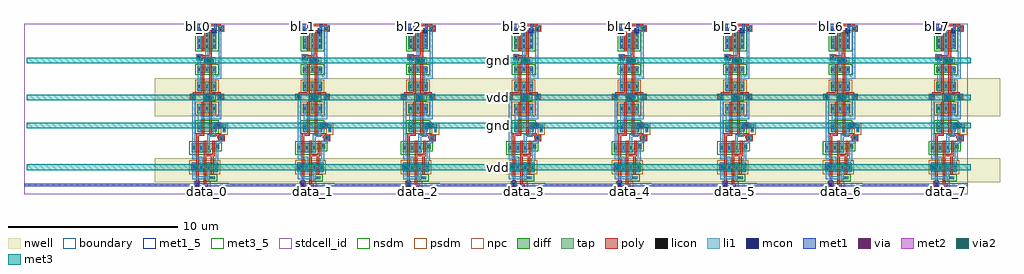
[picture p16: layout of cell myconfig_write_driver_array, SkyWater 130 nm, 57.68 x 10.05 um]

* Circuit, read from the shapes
.subckt myconfig_write_driver_array bl_0 bl_1 bl_2 bl_3 bl_4 bl_5 bl_6 bl_7 br_0 br_1 br_2 br_3 br_4 br_5 br_6 br_7 data_0 data_1 data_2 data_3 data_4 data_5 data_6 data_7 en gnd vdd
XM1 n1 en n2 gnd sky130_fd_pr__nfet_01v8 w=0.55 l=0.15
XM2 n3 en n4 gnd sky130_fd_pr__nfet_01v8 w=0.55 l=0.15
XM3 gnd n2 n5 gnd sky130_fd_pr__nfet_01v8 w=0.36 l=0.15
XM4 gnd n6 bl_0 gnd sky130_fd_pr__nfet_01v8 w=1 l=0.15
XM5 gnd data_0 n1 gnd sky130_fd_pr__nfet_01v8 w=0.55 l=0.15
XM6 gnd n7 n3 gnd sky130_fd_pr__nfet_01v8 w=0.55 l=0.15
XM7 n6 n4 gnd gnd sky130_fd_pr__nfet_01v8 w=0.36 l=0.15
XM8 br_0 n5 gnd gnd sky130_fd_pr__nfet_01v8 w=1 l=0.15
XM9 n7 data_0 gnd gnd sky130_fd_pr__nfet_01v8 w=0.36 l=0.15
XM10 n8 en n9 gnd sky130_fd_pr__nfet_01v8 w=0.55 l=0.15
XM11 n10 en n11 gnd sky130_fd_pr__nfet_01v8 w=0.55 l=0.15
XM12 gnd n9 n12 gnd sky130_fd_pr__nfet_01v8 w=0.36 l=0.15
XM13 gnd n13 bl_1 gnd sky130_fd_pr__nfet_01v8 w=1 l=0.15
XM14 gnd data_1 n8 gnd sky130_fd_pr__nfet_01v8 w=0.55 l=0.15
XM15 gnd n14 n10 gnd sky130_fd_pr__nfet_01v8 w=0.55 l=0.15
XM16 n13 n11 gnd gnd sky130_fd_pr__nfet_01v8 w=0.36 l=0.15
XM17 br_1 n12 gnd gnd sky130_fd_pr__nfet_01v8 w=1 l=0.15
XM18 n14 data_1 gnd gnd sky130_fd_pr__nfet_01v8 w=0.36 l=0.15
XM19 n15 en n16 gnd sky130_fd_pr__nfet_01v8 w=0.55 l=0.15
XM20 n17 en n18 gnd sky130_fd_pr__nfet_01v8 w=0.55 l=0.15
XM21 gnd n16 n19 gnd sky130_fd_pr__nfet_01v8 w=0.36 l=0.15
XM22 gnd n20 bl_2 gnd sky130_fd_pr__nfet_01v8 w=1 l=0.15
XM23 gnd data_2 n15 gnd sky130_fd_pr__nfet_01v8 w=0.55 l=0.15
XM24 gnd n21 n17 gnd sky130_fd_pr__nfet_01v8 w=0.55 l=0.15
XM25 n20 n18 gnd gnd sky130_fd_pr__nfet_01v8 w=0.36 l=0.15
XM26 br_2 n19 gnd gnd sky130_fd_pr__nfet_01v8 w=1 l=0.15
XM27 n21 data_2 gnd gnd sky130_fd_pr__nfet_01v8 w=0.36 l=0.15
XM28 n22 en n23 gnd sky130_fd_pr__nfet_01v8 w=0.55 l=0.15
XM29 n24 en n25 gnd sky130_fd_pr__nfet_01v8 w=0.55 l=0.15
XM30 gnd n23 n26 gnd sky130_fd_pr__nfet_01v8 w=0.36 l=0.15
XM31 gnd n27 bl_3 gnd sky130_fd_pr__nfet_01v8 w=1 l=0.15
XM32 gnd data_3 n22 gnd sky130_fd_pr__nfet_01v8 w=0.55 l=0.15
XM33 gnd n28 n24 gnd sky130_fd_pr__nfet_01v8 w=0.55 l=0.15
XM34 n27 n25 gnd gnd sky130_fd_pr__nfet_01v8 w=0.36 l=0.15
XM35 br_3 n26 gnd gnd sky130_fd_pr__nfet_01v8 w=1 l=0.15
XM36 n28 data_3 gnd gnd sky130_fd_pr__nfet_01v8 w=0.36 l=0.15
XM37 n29 en n30 gnd sky130_fd_pr__nfet_01v8 w=0.55 l=0.15
XM38 n31 en n32 gnd sky130_fd_pr__nfet_01v8 w=0.55 l=0.15
XM39 gnd n30 n33 gnd sky130_fd_pr__nfet_01v8 w=0.36 l=0.15
XM40 gnd n34 bl_4 gnd sky130_fd_pr__nfet_01v8 w=1 l=0.15
XM41 gnd data_4 n29 gnd sky130_fd_pr__nfet_01v8 w=0.55 l=0.15
XM42 gnd n35 n31 gnd sky130_fd_pr__nfet_01v8 w=0.55 l=0.15
XM43 n34 n32 gnd gnd sky130_fd_pr__nfet_01v8 w=0.36 l=0.15
XM44 br_4 n33 gnd gnd sky130_fd_pr__nfet_01v8 w=1 l=0.15
XM45 n35 data_4 gnd gnd sky130_fd_pr__nfet_01v8 w=0.36 l=0.15
XM46 n36 en n37 gnd sky130_fd_pr__nfet_01v8 w=0.55 l=0.15
XM47 n38 en n39 gnd sky130_fd_pr__nfet_01v8 w=0.55 l=0.15
XM48 gnd n37 n40 gnd sky130_fd_pr__nfet_01v8 w=0.36 l=0.15
XM49 gnd n41 bl_5 gnd sky130_fd_pr__nfet_01v8 w=1 l=0.15
XM50 gnd data_5 n36 gnd sky130_fd_pr__nfet_01v8 w=0.55 l=0.15
XM51 gnd n42 n38 gnd sky130_fd_pr__nfet_01v8 w=0.55 l=0.15
XM52 n41 n39 gnd gnd sky130_fd_pr__nfet_01v8 w=0.36 l=0.15
XM53 br_5 n40 gnd gnd sky130_fd_pr__nfet_01v8 w=1 l=0.15
XM54 n42 data_5 gnd gnd sky130_fd_pr__nfet_01v8 w=0.36 l=0.15
XM55 n43 en n44 gnd sky130_fd_pr__nfet_01v8 w=0.55 l=0.15
XM56 n45 en n46 gnd sky130_fd_pr__nfet_01v8 w=0.55 l=0.15
XM57 gnd n44 n47 gnd sky130_fd_pr__nfet_01v8 w=0.36 l=0.15
XM58 gnd n48 bl_6 gnd sky130_fd_pr__nfet_01v8 w=1 l=0.15
XM59 gnd data_6 n43 gnd sky130_fd_pr__nfet_01v8 w=0.55 l=0.15
XM60 gnd n49 n45 gnd sky130_fd_pr__nfet_01v8 w=0.55 l=0.15
XM61 n48 n46 gnd gnd sky130_fd_pr__nfet_01v8 w=0.36 l=0.15
XM62 br_6 n47 gnd gnd sky130_fd_pr__nfet_01v8 w=1 l=0.15
XM63 n49 data_6 gnd gnd sky130_fd_pr__nfet_01v8 w=0.36 l=0.15
XM64 n50 en n51 gnd sky130_fd_pr__nfet_01v8 w=0.55 l=0.15
XM65 n52 en n53 gnd sky130_fd_pr__nfet_01v8 w=0.55 l=0.15
XM66 gnd n51 n54 gnd sky130_fd_pr__nfet_01v8 w=0.36 l=0.15
XM67 gnd n55 bl_7 gnd sky130_fd_pr__nfet_01v8 w=1 l=0.15
XM68 gnd data_7 n50 gnd sky130_fd_pr__nfet_01v8 w=0.55 l=0.15
XM69 gnd n56 n52 gnd sky130_fd_pr__nfet_01v8 w=0.55 l=0.15
XM70 n55 n53 gnd gnd sky130_fd_pr__nfet_01v8 w=0.36 l=0.15
XM71 br_7 n54 gnd gnd sky130_fd_pr__nfet_01v8 w=1 l=0.15
XM72 n56 data_7 gnd gnd sky130_fd_pr__nfet_01v8 w=0.36 l=0.15
XM73 n2 en vdd vdd sky130_fd_pr__pfet_01v8 w=0.55 l=0.15
XM74 vdd en n4 vdd sky130_fd_pr__pfet_01v8 w=0.55 l=0.15
XM75 vdd n2 n5 vdd sky130_fd_pr__pfet_01v8 w=0.55 l=0.15
XM76 vdd data_0 n2 vdd sky130_fd_pr__pfet_01v8 w=0.55 l=0.15
XM77 n4 n7 vdd vdd sky130_fd_pr__pfet_01v8 w=0.55 l=0.15
XM78 n6 n4 vdd vdd sky130_fd_pr__pfet_01v8 w=0.55 l=0.15
XM79 n7 data_0 vdd vdd sky130_fd_pr__pfet_01v8 w=0.55 l=0.15
XM80 n9 en vdd vdd sky130_fd_pr__pfet_01v8 w=0.55 l=0.15
XM81 vdd en n11 vdd sky130_fd_pr__pfet_01v8 w=0.55 l=0.15
XM82 vdd n9 n12 vdd sky130_fd_pr__pfet_01v8 w=0.55 l=0.15
XM83 vdd data_1 n9 vdd sky130_fd_pr__pfet_01v8 w=0.55 l=0.15
XM84 n11 n14 vdd vdd sky130_fd_pr__pfet_01v8 w=0.55 l=0.15
XM85 n13 n11 vdd vdd sky130_fd_pr__pfet_01v8 w=0.55 l=0.15
XM86 n14 data_1 vdd vdd sky130_fd_pr__pfet_01v8 w=0.55 l=0.15
XM87 n16 en vdd vdd sky130_fd_pr__pfet_01v8 w=0.55 l=0.15
XM88 vdd en n18 vdd sky130_fd_pr__pfet_01v8 w=0.55 l=0.15
XM89 vdd n16 n19 vdd sky130_fd_pr__pfet_01v8 w=0.55 l=0.15
XM90 vdd data_2 n16 vdd sky130_fd_pr__pfet_01v8 w=0.55 l=0.15
XM91 n18 n21 vdd vdd sky130_fd_pr__pfet_01v8 w=0.55 l=0.15
XM92 n20 n18 vdd vdd sky130_fd_pr__pfet_01v8 w=0.55 l=0.15
XM93 n21 data_2 vdd vdd sky130_fd_pr__pfet_01v8 w=0.55 l=0.15
XM94 n23 en vdd vdd sky130_fd_pr__pfet_01v8 w=0.55 l=0.15
XM95 vdd en n25 vdd sky130_fd_pr__pfet_01v8 w=0.55 l=0.15
XM96 vdd n23 n26 vdd sky130_fd_pr__pfet_01v8 w=0.55 l=0.15
XM97 vdd data_3 n23 vdd sky130_fd_pr__pfet_01v8 w=0.55 l=0.15
XM98 n25 n28 vdd vdd sky130_fd_pr__pfet_01v8 w=0.55 l=0.15
XM99 n27 n25 vdd vdd sky130_fd_pr__pfet_01v8 w=0.55 l=0.15
XM100 n28 data_3 vdd vdd sky130_fd_pr__pfet_01v8 w=0.55 l=0.15
XM101 n30 en vdd vdd sky130_fd_pr__pfet_01v8 w=0.55 l=0.15
XM102 vdd en n32 vdd sky130_fd_pr__pfet_01v8 w=0.55 l=0.15
XM103 vdd n30 n33 vdd sky130_fd_pr__pfet_01v8 w=0.55 l=0.15
XM104 vdd data_4 n30 vdd sky130_fd_pr__pfet_01v8 w=0.55 l=0.15
XM105 n32 n35 vdd vdd sky130_fd_pr__pfet_01v8 w=0.55 l=0.15
XM106 n34 n32 vdd vdd sky130_fd_pr__pfet_01v8 w=0.55 l=0.15
XM107 n35 data_4 vdd vdd sky130_fd_pr__pfet_01v8 w=0.55 l=0.15
XM108 n37 en vdd vdd sky130_fd_pr__pfet_01v8 w=0.55 l=0.15
XM109 vdd en n39 vdd sky130_fd_pr__pfet_01v8 w=0.55 l=0.15
XM110 vdd n37 n40 vdd sky130_fd_pr__pfet_01v8 w=0.55 l=0.15
XM111 vdd data_5 n37 vdd sky130_fd_pr__pfet_01v8 w=0.55 l=0.15
XM112 n39 n42 vdd vdd sky130_fd_pr__pfet_01v8 w=0.55 l=0.15
XM113 n41 n39 vdd vdd sky130_fd_pr__pfet_01v8 w=0.55 l=0.15
XM114 n42 data_5 vdd vdd sky130_fd_pr__pfet_01v8 w=0.55 l=0.15
XM115 n44 en vdd vdd sky130_fd_pr__pfet_01v8 w=0.55 l=0.15
XM116 vdd en n46 vdd sky130_fd_pr__pfet_01v8 w=0.55 l=0.15
XM117 vdd n44 n47 vdd sky130_fd_pr__pfet_01v8 w=0.55 l=0.15
XM118 vdd data_6 n44 vdd sky130_fd_pr__pfet_01v8 w=0.55 l=0.15
XM119 n46 n49 vdd vdd sky130_fd_pr__pfet_01v8 w=0.55 l=0.15
XM120 n48 n46 vdd vdd sky130_fd_pr__pfet_01v8 w=0.55 l=0.15
XM121 n49 data_6 vdd vdd sky130_fd_pr__pfet_01v8 w=0.55 l=0.15
XM122 n51 en vdd vdd sky130_fd_pr__pfet_01v8 w=0.55 l=0.15
XM123 vdd en n53 vdd sky130_fd_pr__pfet_01v8 w=0.55 l=0.15
XM124 vdd n51 n54 vdd sky130_fd_pr__pfet_01v8 w=0.55 l=0.15
XM125 vdd data_7 n51 vdd sky130_fd_pr__pfet_01v8 w=0.55 l=0.15
XM126 n53 n56 vdd vdd sky130_fd_pr__pfet_01v8 w=0.55 l=0.15
XM127 n55 n53 vdd vdd sky130_fd_pr__pfet_01v8 w=0.55 l=0.15
XM128 n56 data_7 vdd vdd sky130_fd_pr__pfet_01v8 w=0.55 l=0.15
.ends

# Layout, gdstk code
import gdstk
lib = gdstk.Library(unit=1e-6, precision=1e-09)
def R(c, l, rs):  # rectangles x0, y0, x1, y1
    for r in rs: c.add(gdstk.rectangle(r[:2], r[2:], *l))
def A(c, l, x, y, w, h, nx, ny, dx, dy):  # array of equal rectangles
    R(c, l, [(x+i*dx, y+j*dy, x+i*dx+w, y+j*dy+h) for i in range(nx) for j in range(ny)])
nwell = (64, 20)
diff = (65, 20)
tap = (65, 44)
poly = (66, 20)
licon = (66, 44)
li1 = (67, 20)
mcon = (67, 44)
met1_5 = (68, 5)
met1 = (68, 20)
via = (68, 44)
met2 = (69, 20)
via2 = (69, 44)
met3_5 = (70, 5)
met3 = (70, 20)
stdcell_id = (81, 4)
nsdm = (93, 44)
psdm = (94, 20)
npc = (95, 20)
boundary = (235, 4)

sky130_fd_bd_sram__openr = lib.new_cell('sky130_fd_bd_sram__openram_write_driver')
R(sky130_fd_bd_sram__openr, nwell, [(-1.88,0.69,4.4,2.12), (-1.88,4.6,4.4,6.83)])
R(sky130_fd_bd_sram__openr, diff, [(0.305,1.31,1.88,1.86), (0.305,2.46,1.435,2.65), (0.305,2.65,1.955,3.01), (0.645,3.68,1.795,4.23), (0.645,4.78,1.78,5.33), (0.645,6.095,1.775,6.645), (0.645,7.175,1.775,7.535), (0.645,8.565,1.775,9.565)])
R(sky130_fd_bd_sram__openr, tap, [(1.245,0.87,1.705,1.04), (2.155,3.64,2.325,4.1), (1.125,5.62,1.605,5.79), (1.145,7.805,1.605,7.975)])
R(sky130_fd_bd_sram__openr, poly, [(1.115,0.02,1.425,0.32), (1.115,0.32,1.275,0.5), (0.505,0.42,0.775,0.74), (1.015,0.5,1.275,0.65), (1.015,0.65,1.165,2.23), (0.505,0.74,0.725,0.75), (0.575,0.75,0.725,3.45), (1.455,1.18,1.605,2.23), (1.015,2.23,1.665,2.38), (1.015,2.38,1.165,3.14), (1.515,2.38,1.665,3.14), (1.875,3.18,2.245,3.3), (1.825,3.3,2.245,3.45), (0.575,3.45,1.065,3.6), (1.355,3.45,1.995,3.6), (0.915,3.6,1.065,5.46), (1.355,3.6,1.505,5.46), (0.205,5.6,0.54,5.87), (1.885,5.6,2.215,5.72), (1.88,5.72,2.215,5.87), (0.39,5.87,1.065,6.02), (1.355,5.87,2.03,6.02), (0.915,6.02,1.065,7.665), (1.355,6.02,1.505,7.665), (0.605,7.925,0.935,8.055), (0.605,8.055,1.505,8.205), (1.355,8.205,1.505,9.695), (0.915,8.435,1.065,9.905), (1.895,9.645,2.225,9.905), (0.915,9.905,2.225,9.915), (0.915,9.915,2.045,10.055)])
A(sky130_fd_bd_sram__openr, licon, 0.345, 1.5, 0.17, 0.17, 4, 1, 0.44, 0)
A(sky130_fd_bd_sram__openr, licon, 0.345, 2.65, 0.17, 0.17, 3, 1, 0.44, 0)
A(sky130_fd_bd_sram__openr, licon, 0.685, 4.97, 0.17, 0.17, 3, 2, 0.44, 1.315)
A(sky130_fd_bd_sram__openr, licon, 0.685, 7.275, 0.17, 0.17, 3, 2, 0.44, 1.365)
A(sky130_fd_bd_sram__openr, licon, 0.685, 8.98, 0.17, 0.17, 3, 2, 0.44, 0.34)
R(sky130_fd_bd_sram__openr, licon, [(1.175,0.1,1.345,0.27), (0.555,0.5,0.725,0.67), (1.395,0.87,1.565,1.04), (1.725,2.745,1.895,2.915), (1.995,3.23,2.165,3.4), (2.155,3.78,2.325,3.95), (0.685,3.87,0.855,4.04), (1.565,3.87,1.735,4.04), (1.295,5.62,1.465,5.79), (0.285,5.65,0.455,5.82), (1.965,5.65,2.135,5.82), (1.295,7.805,1.465,7.975), (0.685,7.985,0.855,8.155), (1.975,9.695,2.145,9.865)])
R(sky130_fd_bd_sram__openr, li1, [(1.095,0.1,1.425,0.27), (0.47,0.5,0.805,0.67), (1.225,0.84,1.395,0.87), (0.345,0.87,1.645,1.04), (0.345,1.04,0.515,1.88), (1.225,1.04,1.395,1.88), (0.785,1.29,0.955,2.05), (1.665,1.29,1.835,1.95), (1.665,1.95,1.895,2.12), (0.345,2.05,0.955,2.22), (1.725,2.12,1.895,2.89), (0.345,2.22,0.515,5.57), (0.785,2.44,0.955,3.03), (1.225,2.44,1.395,3.4), (1.725,2.89,1.955,2.99), (1.725,2.99,2.105,3.11), (1.725,3.11,2.165,3.16), (1.935,3.16,2.165,3.49), (1.225,3.375,1.735,3.545), (1.565,3.4,1.735,3.95), (0.685,3.65,0.855,4.42), (2.155,3.7,2.325,3.95), (1.565,3.95,2.355,4.12), (1.565,4.12,1.735,4.25), (0.685,4.42,2.075,4.59), (0.685,4.59,0.855,5.35), (1.565,4.59,1.735,5.35), (1.905,4.59,2.075,5.57), (1.125,4.76,1.295,5.62), (0.285,5.57,0.515,5.9), (1.905,5.57,2.135,5.9), (1.125,5.62,1.545,5.79), (1.125,5.79,1.295,6.665), (0.685,6.08,0.855,7.9), (1.565,6.08,1.735,6.825), (1.565,6.825,2.075,6.995), (1.565,6.995,1.735,7.565), (1.905,6.995,2.075,9.615), (1.125,7.165,1.295,7.805), (1.125,7.805,1.545,7.975), (0.585,7.9,0.855,8.235), (1.125,7.975,1.295,9.635), (0.685,8.545,0.855,9.735), (1.565,8.545,1.735,9.735), (1.905,9.615,2.145,9.945)])
R(sky130_fd_bd_sram__openr, mcon, [(1.175,0.1,1.345,0.27), (0.555,0.5,0.725,0.67), (0.345,1.5,0.515,1.67), (1.8,3.95,1.97,4.12), (1.125,5.62,1.295,5.79), (1.125,7.805,1.295,7.975), (0.685,9.565,0.855,9.735), (1.565,9.565,1.735,9.735)])
R(sky130_fd_bd_sram__openr, met1_5, [(1.115,0.02,1.415,0.3), (0.495,0.47,2.5,0.64), (0.285,1.47,0.715,1.7), (1.67,3.945,2.1,4.15), (1.065,5.59,1.495,5.82), (1.065,7.805,1.605,7.975), (0.63,9.795,0.78,10.055), (1.64,9.795,1.79,10.055)])
R(sky130_fd_bd_sram__openr, met1, [(1.115,0.02,1.415,0.3), (1.115,0.02,1.415,0.3), (0.495,0.47,2.5,0.64), (0.495,0.47,2.5,0.64), (0.495,0.64,0.785,0.78), (0.285,1.47,0.715,1.7), (0.285,1.47,0.715,1.7), (1.735,3.92,2.1,3.945), (1.67,3.945,2.1,4.15), (1.67,3.945,2.1,4.15), (1.065,5.59,1.495,5.82), (1.065,5.59,1.495,5.82), (1.065,7.775,1.495,7.805), (1.065,7.805,1.605,7.975), (1.065,7.805,1.605,7.975), (1.065,7.975,1.495,8.005), (0.625,9.505,0.91,9.795), (1.51,9.505,1.795,9.795), (0.63,9.795,0.78,10.055), (0.63,9.795,0.78,10.055), (1.64,9.795,1.79,10.055), (1.64,9.795,1.79,10.055)])
R(sky130_fd_bd_sram__openr, stdcell_id, [(0,0,2.5,10.055)])
R(sky130_fd_bd_sram__openr, nsdm, [(1.12,0.745,1.83,1.165), (0.18,2.335,1.56,2.525), (0.18,2.525,2.08,3.135), (0.52,3.555,1.92,4.355), (1,5.495,1.73,5.915), (0.52,7.05,1.9,7.66), (0.52,8.44,1.9,9.69)])
R(sky130_fd_bd_sram__openr, psdm, [(0.18,1.185,2.005,1.985), (2.03,3.515,2.45,4.225), (0.52,4.655,1.905,5.455), (0.52,5.97,1.9,6.77), (1.02,7.68,1.73,8.1)])
R(sky130_fd_bd_sram__openr, npc, [(0.455,0,1.445,0.77), (1.895,3.13,2.265,3.5), (0.185,5.55,0.555,5.92), (1.865,5.55,2.235,5.92), (0.585,7.885,0.955,8.255), (1.875,9.595,2.245,9.965)])
R(sky130_fd_bd_sram__openr, boundary, [(0,0,2.5,10.055)])
sky130_fd_bd_sram__openr.add(gdstk.Label('DIN', (1.265,0.06), layer=68, texttype=16))
sky130_fd_bd_sram__openr.add(gdstk.Label('VDD', (0.54,1.585), layer=68, texttype=16))
sky130_fd_bd_sram__openr.add(gdstk.Label('BL', (0.7,9.905), layer=68, texttype=16))
sky130_fd_bd_sram__openr.add(gdstk.Label('BR', (1.7,9.865), layer=68, texttype=16))
sky130_fd_bd_sram__openr.add(gdstk.Label('EN', (0.53,0.59), layer=68, texttype=16))
sky130_fd_bd_sram__openr.add(gdstk.Label('GND', (1.965,4.135), layer=68, texttype=16))
sky130_fd_bd_sram__openr.add(gdstk.Label('GND', (1.1,7.885), layer=68, texttype=16))
sky130_fd_bd_sram__openr.add(gdstk.Label('VDD', (1.1,5.7), layer=68, texttype=16))
sky130_fd_bd_sram__openr.add(gdstk.Label('din', (1.265,0.16), layer=68, texttype=5))
sky130_fd_bd_sram__openr.add(gdstk.Label('bl', (0.705,9.925), layer=68, texttype=5))
sky130_fd_bd_sram__openr.add(gdstk.Label('br', (1.715,9.925), layer=68, texttype=5))
sky130_fd_bd_sram__openr.add(gdstk.Label('en', (1.498,0.555), layer=68, texttype=5))
sky130_fd_bd_sram__openr.add(gdstk.Label('vdd', (0.5,1.585), layer=68, texttype=5))
sky130_fd_bd_sram__openr.add(gdstk.Label('vdd', (1.28,5.705), layer=68, texttype=5))
sky130_fd_bd_sram__openr.add(gdstk.Label('gnd', (1.885,4.048), layer=68, texttype=5))
sky130_fd_bd_sram__openr.add(gdstk.Label('gnd', (1.335,7.89), layer=68, texttype=5))

myconfig_contact_18 = lib.new_cell('myconfig_contact_18')
R(myconfig_contact_18, met1, [(0,0.03,0.32,0.29)])
R(myconfig_contact_18, via, [(0.085,0.085,0.235,0.235)])
R(myconfig_contact_18, met2, [(0.03,0,0.29,0.32)])
R(myconfig_contact_18, stdcell_id, [(0,0,0.32,0.32)])
R(myconfig_contact_18, boundary, [(0,0,0.32,0.32)])

myconfig_contact_21 = lib.new_cell('myconfig_contact_21')
R(myconfig_contact_21, met2, [(0.025,0,0.305,0.37)])
R(myconfig_contact_21, via2, [(0.065,0.085,0.265,0.285)])
R(myconfig_contact_21, met3, [(0,0.02,0.33,0.35)])
R(myconfig_contact_21, stdcell_id, [(0,0,0.33,0.37)])
R(myconfig_contact_21, boundary, [(0,0,0.33,0.37)])

myconfig_write_driver_ar = lib.new_cell('myconfig_write_driver_array')
A(myconfig_write_driver_ar, met1_5, 10.71, 0.02, 0.3, 0.28, 8, 1, 6.24, 0)
R(myconfig_write_driver_ar, met1_5, [(0,0.47,55.775,0.61), (10.225,9.795,10.375,10.055), (11.235,9.795,11.385,10.055), (16.465,9.795,16.615,10.055), (17.475,9.795,17.625,10.055), (22.705,9.795,22.855,10.055), (23.715,9.795,23.865,10.055), (28.945,9.795,29.095,10.055), (29.955,9.795,30.105,10.055), (35.185,9.795,35.335,10.055), (36.195,9.795,36.345,10.055), (41.425,9.795,41.575,10.055), (42.435,9.795,42.585,10.055), (47.665,9.795,47.815,10.055), (48.675,9.795,48.825,10.055), (53.905,9.795,54.055,10.055), (54.915,9.795,55.065,10.055)])
A(myconfig_write_driver_ar, met1, 10.71, 0.02, 0.3, 0.28, 8, 1, 6.24, 0)
A(myconfig_write_driver_ar, met1, 9.935, 1.455, 0.32, 0.26, 8, 1, 6.24, 0)
A(myconfig_write_driver_ar, met1, 11.32, 3.92, 0.32, 0.26, 8, 1, 6.24, 0)
A(myconfig_write_driver_ar, met1, 10.715, 5.575, 0.32, 0.26, 8, 1, 6.24, 0)
A(myconfig_write_driver_ar, met1, 10.77, 7.76, 0.32, 0.26, 8, 1, 6.24, 0)
R(myconfig_write_driver_ar, met1, [(0,0.47,55.775,0.61), (10.225,9.795,10.375,10.055), (11.235,9.795,11.385,10.055), (16.465,9.795,16.615,10.055), (17.475,9.795,17.625,10.055), (22.705,9.795,22.855,10.055), (23.715,9.795,23.865,10.055), (28.945,9.795,29.095,10.055), (29.955,9.795,30.105,10.055), (35.185,9.795,35.335,10.055), (36.195,9.795,36.345,10.055), (41.425,9.795,41.575,10.055), (42.435,9.795,42.585,10.055), (47.665,9.795,47.815,10.055), (48.675,9.795,48.825,10.055), (53.905,9.795,54.055,10.055), (54.915,9.795,55.065,10.055)])
A(myconfig_write_driver_ar, met2, 9.955, 1.465, 0.28, 0.24, 8, 1, 6.24, 0)
A(myconfig_write_driver_ar, met2, 11.34, 3.925, 0.28, 0.24, 8, 1, 6.24, 0)
A(myconfig_write_driver_ar, met2, 10.735, 5.585, 0.28, 0.24, 8, 1, 6.24, 0)
A(myconfig_write_driver_ar, met2, 10.79, 7.77, 0.28, 0.24, 8, 1, 6.24, 0)
R(myconfig_write_driver_ar, met3_5, [(0.165,1.42,55.94,1.75), (0.165,3.88,55.94,4.21), (0.165,5.54,55.94,5.87), (0.165,7.725,55.94,8.055)])
R(myconfig_write_driver_ar, met3, [(0.165,1.42,55.94,1.75), (0.165,3.88,55.94,4.21), (0.165,5.54,55.94,5.87), (0.165,7.725,55.94,8.055)])
R(myconfig_write_driver_ar, stdcell_id, [(0,0,55.775,10.055)])
R(myconfig_write_driver_ar, boundary, [(0,0,55.775,10.055)])
myconfig_write_driver_ar.add(gdstk.Reference(sky130_fd_bd_sram__openr, (9.595,0)))
myconfig_write_driver_ar.add(gdstk.Reference(sky130_fd_bd_sram__openr, (15.835,0)))
myconfig_write_driver_ar.add(gdstk.Reference(sky130_fd_bd_sram__openr, (22.075,0)))
myconfig_write_driver_ar.add(gdstk.Reference(sky130_fd_bd_sram__openr, (28.315,0)))
myconfig_write_driver_ar.add(gdstk.Reference(sky130_fd_bd_sram__openr, (34.555,0)))
myconfig_write_driver_ar.add(gdstk.Reference(sky130_fd_bd_sram__openr, (40.795,0)))
myconfig_write_driver_ar.add(gdstk.Reference(sky130_fd_bd_sram__openr, (47.035,0)))
myconfig_write_driver_ar.add(gdstk.Reference(sky130_fd_bd_sram__openr, (53.275,0)))
myconfig_write_driver_ar.add(gdstk.Reference(myconfig_contact_18, (9.935,1.425)))
myconfig_write_driver_ar.add(gdstk.Reference(myconfig_contact_21, (9.93,1.4)))
myconfig_write_driver_ar.add(gdstk.Reference(myconfig_contact_18, (16.175,1.425)))
myconfig_write_driver_ar.add(gdstk.Reference(myconfig_contact_21, (16.17,1.4)))
myconfig_write_driver_ar.add(gdstk.Reference(myconfig_contact_18, (22.415,1.425)))
myconfig_write_driver_ar.add(gdstk.Reference(myconfig_contact_21, (22.41,1.4)))
myconfig_write_driver_ar.add(gdstk.Reference(myconfig_contact_18, (28.655,1.425)))
myconfig_write_driver_ar.add(gdstk.Reference(myconfig_contact_21, (28.65,1.4)))
myconfig_write_driver_ar.add(gdstk.Reference(myconfig_contact_18, (34.895,1.425)))
myconfig_write_driver_ar.add(gdstk.Reference(myconfig_contact_21, (34.89,1.4)))
myconfig_write_driver_ar.add(gdstk.Reference(myconfig_contact_18, (41.135,1.425)))
myconfig_write_driver_ar.add(gdstk.Reference(myconfig_contact_21, (41.13,1.4)))
myconfig_write_driver_ar.add(gdstk.Reference(myconfig_contact_18, (47.375,1.425)))
myconfig_write_driver_ar.add(gdstk.Reference(myconfig_contact_21, (47.37,1.4)))
myconfig_write_driver_ar.add(gdstk.Reference(myconfig_contact_18, (53.615,1.425)))
myconfig_write_driver_ar.add(gdstk.Reference(myconfig_contact_21, (53.61,1.4)))
myconfig_write_driver_ar.add(gdstk.Reference(myconfig_contact_18, (10.715,5.545)))
myconfig_write_driver_ar.add(gdstk.Reference(myconfig_contact_21, (10.71,5.52)))
myconfig_write_driver_ar.add(gdstk.Reference(myconfig_contact_18, (16.955,5.545)))
myconfig_write_driver_ar.add(gdstk.Reference(myconfig_contact_21, (16.95,5.52)))
myconfig_write_driver_ar.add(gdstk.Reference(myconfig_contact_18, (23.195,5.545)))
myconfig_write_driver_ar.add(gdstk.Reference(myconfig_contact_21, (23.19,5.52)))
myconfig_write_driver_ar.add(gdstk.Reference(myconfig_contact_18, (29.435,5.545)))
myconfig_write_driver_ar.add(gdstk.Reference(myconfig_contact_21, (29.43,5.52)))
myconfig_write_driver_ar.add(gdstk.Reference(myconfig_contact_18, (35.675,5.545)))
myconfig_write_driver_ar.add(gdstk.Reference(myconfig_contact_21, (35.67,5.52)))
myconfig_write_driver_ar.add(gdstk.Reference(myconfig_contact_18, (41.915,5.545)))
myconfig_write_driver_ar.add(gdstk.Reference(myconfig_contact_21, (41.91,5.52)))
myconfig_write_driver_ar.add(gdstk.Reference(myconfig_contact_18, (48.155,5.545)))
myconfig_write_driver_ar.add(gdstk.Reference(myconfig_contact_21, (48.15,5.52)))
myconfig_write_driver_ar.add(gdstk.Reference(myconfig_contact_18, (54.395,5.545)))
myconfig_write_driver_ar.add(gdstk.Reference(myconfig_contact_21, (54.39,5.52)))
myconfig_write_driver_ar.add(gdstk.Reference(myconfig_contact_18, (11.32,3.89)))
myconfig_write_driver_ar.add(gdstk.Reference(myconfig_contact_21, (11.315,3.86)))
myconfig_write_driver_ar.add(gdstk.Reference(myconfig_contact_18, (17.56,3.89)))
myconfig_write_driver_ar.add(gdstk.Reference(myconfig_contact_21, (17.555,3.86)))
myconfig_write_driver_ar.add(gdstk.Reference(myconfig_contact_18, (23.8,3.89)))
myconfig_write_driver_ar.add(gdstk.Reference(myconfig_contact_21, (23.795,3.86)))
myconfig_write_driver_ar.add(gdstk.Reference(myconfig_contact_18, (30.04,3.89)))
myconfig_write_driver_ar.add(gdstk.Reference(myconfig_contact_21, (30.035,3.86)))
myconfig_write_driver_ar.add(gdstk.Reference(myconfig_contact_18, (36.28,3.89)))
myconfig_write_driver_ar.add(gdstk.Reference(myconfig_contact_21, (36.275,3.86)))
myconfig_write_driver_ar.add(gdstk.Reference(myconfig_contact_18, (42.52,3.89)))
myconfig_write_driver_ar.add(gdstk.Reference(myconfig_contact_21, (42.515,3.86)))
myconfig_write_driver_ar.add(gdstk.Reference(myconfig_contact_18, (48.76,3.89)))
myconfig_write_driver_ar.add(gdstk.Reference(myconfig_contact_21, (48.755,3.86)))
myconfig_write_driver_ar.add(gdstk.Reference(myconfig_contact_18, (55,3.89)))
myconfig_write_driver_ar.add(gdstk.Reference(myconfig_contact_21, (54.995,3.86)))
myconfig_write_driver_ar.add(gdstk.Reference(myconfig_contact_18, (10.77,7.73)))
myconfig_write_driver_ar.add(gdstk.Reference(myconfig_contact_21, (10.765,7.705)))
myconfig_write_driver_ar.add(gdstk.Reference(myconfig_contact_18, (17.01,7.73)))
myconfig_write_driver_ar.add(gdstk.Reference(myconfig_contact_21, (17.005,7.705)))
myconfig_write_driver_ar.add(gdstk.Reference(myconfig_contact_18, (23.25,7.73)))
myconfig_write_driver_ar.add(gdstk.Reference(myconfig_contact_21, (23.245,7.705)))
myconfig_write_driver_ar.add(gdstk.Reference(myconfig_contact_18, (29.49,7.73)))
myconfig_write_driver_ar.add(gdstk.Reference(myconfig_contact_21, (29.485,7.705)))
myconfig_write_driver_ar.add(gdstk.Reference(myconfig_contact_18, (35.73,7.73)))
myconfig_write_driver_ar.add(gdstk.Reference(myconfig_contact_21, (35.725,7.705)))
myconfig_write_driver_ar.add(gdstk.Reference(myconfig_contact_18, (41.97,7.73)))
myconfig_write_driver_ar.add(gdstk.Reference(myconfig_contact_21, (41.965,7.705)))
myconfig_write_driver_ar.add(gdstk.Reference(myconfig_contact_18, (48.21,7.73)))
myconfig_write_driver_ar.add(gdstk.Reference(myconfig_contact_21, (48.205,7.705)))
myconfig_write_driver_ar.add(gdstk.Reference(myconfig_contact_18, (54.45,7.73)))
myconfig_write_driver_ar.add(gdstk.Reference(myconfig_contact_21, (54.445,7.705)))
myconfig_write_driver_ar.add(gdstk.Label('data_0', (10.86,0.16), layer=68, texttype=5))
myconfig_write_driver_ar.add(gdstk.Label('bl_0', (10.3,9.925), layer=68, texttype=5))
myconfig_write_driver_ar.add(gdstk.Label('br_0', (11.31,9.925), layer=68, texttype=5))
myconfig_write_driver_ar.add(gdstk.Label('data_1', (17.1,0.16), layer=68, texttype=5))
myconfig_write_driver_ar.add(gdstk.Label('bl_1', (16.54,9.925), layer=68, texttype=5))
myconfig_write_driver_ar.add(gdstk.Label('br_1', (17.55,9.925), layer=68, texttype=5))
myconfig_write_driver_ar.add(gdstk.Label('data_2', (23.34,0.16), layer=68, texttype=5))
myconfig_write_driver_ar.add(gdstk.Label('bl_2', (22.78,9.925), layer=68, texttype=5))
myconfig_write_driver_ar.add(gdstk.Label('br_2', (23.79,9.925), layer=68, texttype=5))
myconfig_write_driver_ar.add(gdstk.Label('data_3', (29.58,0.16), layer=68, texttype=5))
myconfig_write_driver_ar.add(gdstk.Label('bl_3', (29.02,9.925), layer=68, texttype=5))
myconfig_write_driver_ar.add(gdstk.Label('br_3', (30.03,9.925), layer=68, texttype=5))
myconfig_write_driver_ar.add(gdstk.Label('data_4', (35.82,0.16), layer=68, texttype=5))
myconfig_write_driver_ar.add(gdstk.Label('bl_4', (35.26,9.925), layer=68, texttype=5))
myconfig_write_driver_ar.add(gdstk.Label('br_4', (36.27,9.925), layer=68, texttype=5))
myconfig_write_driver_ar.add(gdstk.Label('data_5', (42.06,0.16), layer=68, texttype=5))
myconfig_write_driver_ar.add(gdstk.Label('bl_5', (41.5,9.925), layer=68, texttype=5))
myconfig_write_driver_ar.add(gdstk.Label('br_5', (42.51,9.925), layer=68, texttype=5))
myconfig_write_driver_ar.add(gdstk.Label('data_6', (48.3,0.16), layer=68, texttype=5))
myconfig_write_driver_ar.add(gdstk.Label('bl_6', (47.74,9.925), layer=68, texttype=5))
myconfig_write_driver_ar.add(gdstk.Label('br_6', (48.75,9.925), layer=68, texttype=5))
myconfig_write_driver_ar.add(gdstk.Label('data_7', (54.54,0.16), layer=68, texttype=5))
myconfig_write_driver_ar.add(gdstk.Label('bl_7', (53.98,9.925), layer=68, texttype=5))
myconfig_write_driver_ar.add(gdstk.Label('br_7', (54.99,9.925), layer=68, texttype=5))
myconfig_write_driver_ar.add(gdstk.Label('en', (27.888,0.54), layer=68, texttype=5))
myconfig_write_driver_ar.add(gdstk.Label('vdd', (28.052,5.705), layer=70, texttype=5))
myconfig_write_driver_ar.add(gdstk.Label('vdd', (28.052,1.585), layer=70, texttype=5))
myconfig_write_driver_ar.add(gdstk.Label('gnd', (28.052,7.89), layer=70, texttype=5))
myconfig_write_driver_ar.add(gdstk.Label('gnd', (28.052,4.045), layer=70, texttype=5))

lib.write_gds('myconfig_write_driver_array.gds')
